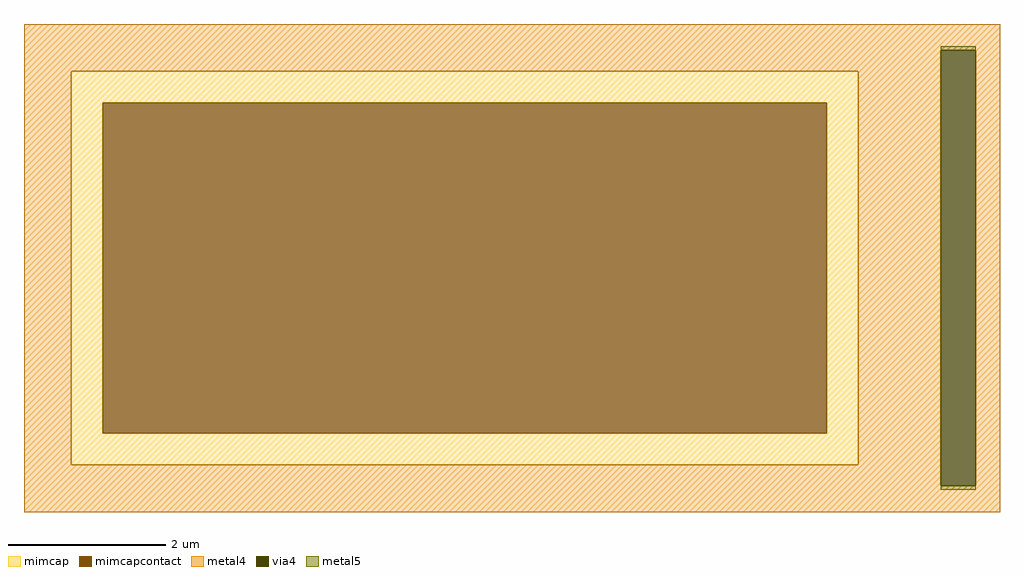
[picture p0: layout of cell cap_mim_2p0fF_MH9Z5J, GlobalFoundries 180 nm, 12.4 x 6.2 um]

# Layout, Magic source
magic
tech gf180mcuD
magscale 1 10
<< mimcap >>
rect -1120 420 880 500
rect -1120 -420 -1040 420
rect 800 -420 880 420
rect -1120 -500 880 -420
<< mimcapcontact >>
rect -1040 -420 800 420
<< metal4 >>
rect -1240 553 1240 620
rect -1240 500 1090 553
rect -1240 -500 -1120 500
rect 880 -500 1090 500
rect -1240 -553 1090 -500
rect 1178 -553 1240 553
rect -1240 -620 1240 -553
<< via4 >>
rect 1090 -553 1178 553
<< metal5 >>
rect 1090 553 1178 563
rect 1090 -563 1178 -553
<< properties >>
string FIXED_BBOX -1240 -620 1000 620
string gencell cap_mim_2p0fF
string library gf180mcu
string parameters w 10 l 5 val 1.85k carea 25.00 cperi 20.00 class capacitor nx 1 ny 1 dummy 0 square 0 lmin 5.00 wmin 5.00 lmax 100.0 wmax 100.0 dc 0 bconnect 1 tconnect 1
<< end >>
